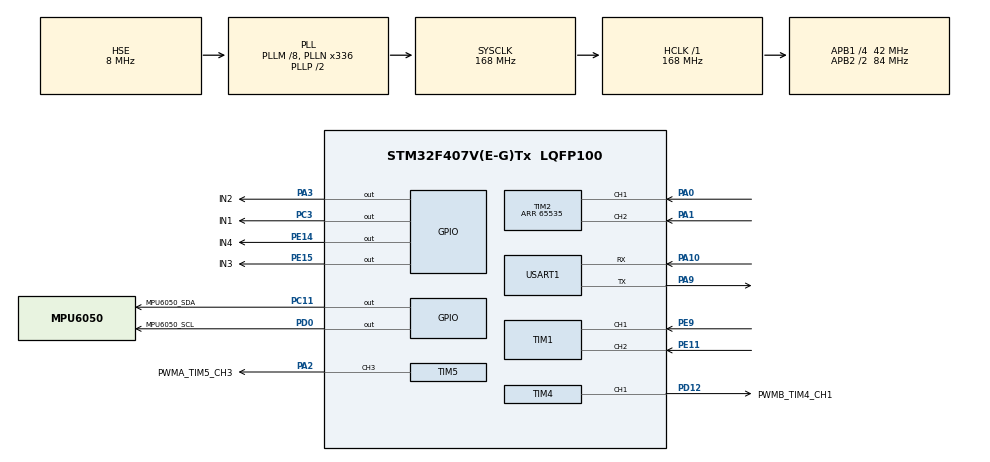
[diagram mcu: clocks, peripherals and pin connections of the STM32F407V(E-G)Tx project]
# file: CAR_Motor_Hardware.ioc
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FREERTOS.Queues01=Ubuntu_data_Queue,33,unsigned char,0,Dynamic,NULL,NULL
FREERTOS.Tasks01=Task_PID_Ctrol_,-3,128,Start_Task_PID_Ctrol_Task_100HZ,Default,NULL,Dynamic,NULL,NULL;Task_IMU_200HZ,0,128,Start_Task_IMU_200HZ,Default,NULL,Dynamic,NULL,NULL;Task_USART_5HZ,-3,128,Start_Task_USART_5HZ,Default,NULL,Dynamic,NULL,NULL;Task_Interactio,-3,128,Start_Task_Interactio,Default,NULL,Dynamic,NULL,NULL
Mcu.Family=STM32F4
Mcu.Name=STM32F407V(E-G)Tx
Mcu.Package=LQFP100
NVIC.PriorityGroup=NVIC_PRIORITYGROUP_4
NVIC.TIM6_DAC_IRQn=true\:0\:0\:true\:false\:true\:false\:false\:true\:true
NVIC.TimeBase=TIM6_DAC_IRQn
NVIC.TimeBaseIP=TIM6
NVIC.USART1_IRQn=true\:5\:0\:false\:false\:true\:true\:true\:true\:true
PA0-WKUP.Signal=S_TIM2_CH1_ETR
PA1.Signal=S_TIM2_CH2
PA10.Mode=Asynchronous
PA10.Signal=USART1_RX
PA13.Mode=Serial_Wire
PA13.Signal=SYS_JTMS-SWDIO
PA14.Mode=Serial_Wire
PA14.Signal=SYS_JTCK-SWCLK
PA2.GPIO_Label=PWMA_TIM5_CH3
PA2.Signal=S_TIM5_CH3
PA3.GPIO_Label=IN2
PA3.Signal=GPIO_Output
PA9.Mode=Asynchronous
PA9.Signal=USART1_TX
PC11.GPIO_Label=MPU6050_SDA
PC11.Signal=GPIO_Output
PC3.GPIO_Label=IN1
PC3.Signal=GPIO_Output
PD0.GPIO_Label=MPU6050_SCL
PD0.Signal=GPIO_Output
PD12.GPIO_Label=PWMB_TIM4_CH1
PD12.Signal=S_TIM4_CH1
PE11.Signal=S_TIM1_CH2
PE14.GPIO_Label=IN4
PE14.Signal=GPIO_Output
PE15.GPIO_Label=IN3
PE15.Signal=GPIO_Output
PE9.Signal=S_TIM1_CH1
PH0-OSC_IN.Mode=HSE-External-Oscillator
PH0-OSC_IN.Signal=RCC_OSC_IN
PH1-OSC_OUT.Mode=HSE-External-Oscillator
PH1-OSC_OUT.Signal=RCC_OSC_OUT
ProjectManager.HeapSize=0x200
ProjectManager.StackSize=0x400
ProjectManager.TargetToolchain=MDK-ARM V5
RCC.48MHZClocksFreq_Value=84000000
RCC.AHBFreq_Value=168000000
RCC.APB1CLKDivider=RCC_HCLK_DIV4
RCC.APB1Freq_Value=42000000
RCC.APB1TimFreq_Value=84000000
RCC.APB2CLKDivider=RCC_HCLK_DIV2
RCC.APB2Freq_Value=84000000
RCC.APB2TimFreq_Value=168000000
RCC.CortexFreq_Value=168000000
RCC.HCLKFreq_Value=168000000
RCC.HSE_VALUE=8000000
RCC.HSI_VALUE=16000000
RCC.LSE_VALUE=32768
RCC.PLLM=8
RCC.PLLN=336
RCC.PLLSourceVirtual=RCC_PLLSOURCE_HSE
RCC.SYSCLKFreq_VALUE=168000000
RCC.SYSCLKSource=RCC_SYSCLKSOURCE_PLLCLK
RCC.VCOOutputFreq_Value=336000000
SH.S_TIM1_CH1.0=TIM1_CH1,Encoder_Interface
SH.S_TIM1_CH2.0=TIM1_CH2,Encoder_Interface
SH.S_TIM2_CH1_ETR.0=TIM2_CH1,Encoder_Interface
SH.S_TIM2_CH2.0=TIM2_CH2,Encoder_Interface
SH.S_TIM4_CH1.0=TIM4_CH1,PWM Generation1 CH1
SH.S_TIM5_CH3.0=TIM5_CH3,PWM Generation3 CH3
TIM1.EncoderMode=TIM_ENCODERMODE_TI12
TIM2.EncoderMode=TIM_ENCODERMODE_TI12
TIM2.Period=65535
TIM4.Channel-PWM\ Generation1\ CH1=TIM_CHANNEL_1
TIM4.Period=8000
TIM5.Channel-PWM\ Generation3\ CH3=TIM_CHANNEL_3
TIM5.Period=8000
USART1.VirtualMode=VM_ASYNC
VP_FREERTOS_VS_CMSIS_V1.Mode=CMSIS_V1
VP_SYS_VS_tim6.Mode=TIM6
board=custom

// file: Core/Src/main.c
/* USER CODE BEGIN Header */
/**
  ******************************************************************************
  * @file           : main.c
  * @brief          : Main program body
  ******************************************************************************
  * @attention
  *
  * Copyright (c) 2022 STMicroelectronics.
  * All rights reserved.
  *
  * This software is licensed under terms that can be found in the LICENSE file
  * in the root directory of this software component.
  * If no LICENSE file comes with this software, it is provided AS-IS.
  *
  ******************************************************************************
  */
/* USER CODE END Header */
#include "main.h"
#include "cmsis_os.h"
#include "tim.h"
#include "usart.h"
#include "gpio.h"

/* USER CODE BEGIN Includes */
#include "stdio.h"
/* USER CODE END Includes */

void SystemClock_Config(void);
void MX_FREERTOS_Init(void);

/* USER CODE BEGIN 0 */
int fputc(int ch, FILE *fp)
{
	while(!(USART1->SR & (1<<7)));

	USART1->DR = ch;

	return ch;
}
/* USER CODE END 0 */

int main(void)
{

  /* MCU Configuration--------------------------------------------------------*/

  /* Reset of all peripherals, Initializes the Flash interface and the Systick. */
  HAL_Init();

  /* Configure the system clock */
  SystemClock_Config();

  /* Initialize all configured peripherals */
  MX_GPIO_Init();
  MX_USART1_UART_Init();
  MX_TIM1_Init();
  MX_TIM2_Init();
  MX_TIM4_Init();
  MX_TIM5_Init();
  /* USER CODE BEGIN 2 */
	printf("ROS_Hardware_develop\n");
	HAL_TIM_PWM_Start(&htim5, TIM_CHANNEL_3);
	HAL_TIM_PWM_Start(&htim4, TIM_CHANNEL_1);
	HAL_TIM_Encoder_Start(&htim1, TIM_CHANNEL_ALL);
	HAL_TIM_Encoder_Start(&htim2, TIM_CHANNEL_ALL);
  /* USER CODE END 2 */

  /* Call init function for freertos objects (in freertos.c) */
  MX_FREERTOS_Init();

  /* Start scheduler */
  osKernelStart();

  /* We should never get here as control is now taken by the scheduler */
  /* Infinite loop */
  while (1)
  {

  }
}

void SystemClock_Config(void)
{
  RCC_OscInitTypeDef RCC_OscInitStruct = {0};
  RCC_ClkInitTypeDef RCC_ClkInitStruct = {0};

  /** Configure the main internal regulator output voltage
  */
  __HAL_RCC_PWR_CLK_ENABLE();
  __HAL_PWR_VOLTAGESCALING_CONFIG(PWR_REGULATOR_VOLTAGE_SCALE1);

  /** Initializes the RCC Oscillators according to the specified parameters
  * in the RCC_OscInitTypeDef structure.
  */
  RCC_OscInitStruct.OscillatorType = RCC_OSCILLATORTYPE_HSE;
  RCC_OscInitStruct.HSEState = RCC_HSE_ON;
  RCC_OscInitStruct.PLL.PLLState = RCC_PLL_ON;
  RCC_OscInitStruct.PLL.PLLSource = RCC_PLLSOURCE_HSE;
  RCC_OscInitStruct.PLL.PLLM = 8;
  RCC_OscInitStruct.PLL.PLLN = 336;
  RCC_OscInitStruct.PLL.PLLP = RCC_PLLP_DIV2;
  RCC_OscInitStruct.PLL.PLLQ = 4;
  if (HAL_RCC_OscConfig(&RCC_OscInitStruct) != HAL_OK)
  {
    Error_Handler();
  }

  /** Initializes the CPU, AHB and APB buses clocks
  */
  RCC_ClkInitStruct.ClockType = RCC_CLOCKTYPE_HCLK|RCC_CLOCKTYPE_SYSCLK
                              |RCC_CLOCKTYPE_PCLK1|RCC_CLOCKTYPE_PCLK2;
  RCC_ClkInitStruct.SYSCLKSource = RCC_SYSCLKSOURCE_PLLCLK;
  RCC_ClkInitStruct.AHBCLKDivider = RCC_SYSCLK_DIV1;
  RCC_ClkInitStruct.APB1CLKDivider = RCC_HCLK_DIV4;
  RCC_ClkInitStruct.APB2CLKDivider = RCC_HCLK_DIV2;

  if (HAL_RCC_ClockConfig(&RCC_ClkInitStruct, FLASH_LATENCY_5) != HAL_OK)
  {
    Error_Handler();
  }
}

void HAL_TIM_PeriodElapsedCallback(TIM_HandleTypeDef *htim)
{
  if (htim->Instance == TIM6) {
    HAL_IncTick();
  }
}

void Error_Handler(void)
{
  __disable_irq();
  while (1)
  {
  }
}

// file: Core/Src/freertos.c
/* USER CODE BEGIN Header */
/**
  ******************************************************************************
  * File Name          : freertos.c
  * Description        : Code for freertos applications
  ******************************************************************************
  * @attention
  *
  * Copyright (c) 2022 STMicroelectronics.
  * All rights reserved.
  *
  * This software is licensed under terms that can be found in the LICENSE file
  * in the root directory of this software component.
  * If no LICENSE file comes with this software, it is provided AS-IS.
  *
  ******************************************************************************
  */
/* USER CODE END Header */

#include "FreeRTOS.h"
#include "task.h"
#include "main.h"
#include "cmsis_os.h"

/* USER CODE BEGIN Includes */
#include "main.h"
#include "stm32f4xx_hal.h"
#include "mpu6050.h"
#include "car_task.h"
#include "inv_mpu_user.h"
#include "ROS_USART_DEVICE.h"
#include "contrl.h"
/* USER CODE END Includes */

/* USER CODE BEGIN Variables */
//unsigned char Rcount = 0;
/* USER CODE END Variables */
osThreadId Task_PID_Ctrol_Handle;
osThreadId Task_IMU_200HZHandle;
osThreadId Task_USART_5HZHandle;
osThreadId Task_InteractioHandle;
osMessageQId Ubuntu_data_QueueHandle;

void Start_Task_PID_Ctrol_Task_100HZ(void const * argument);
void Start_Task_IMU_200HZ(void const * argument);
void Start_Task_USART_5HZ(void const * argument);
void Start_Task_Interactio(void const * argument);

void MX_FREERTOS_Init(void); /* (MISRA C 2004 rule 8.1) */

/* GetIdleTaskMemory prototype (linked to static allocation support) */
void vApplicationGetIdleTaskMemory( StaticTask_t **ppxIdleTaskTCBBuffer, StackType_t **ppxIdleTaskStackBuffer, uint32_t *pulIdleTaskStackSize );

/* USER CODE BEGIN GET_IDLE_TASK_MEMORY */
static StaticTask_t xIdleTaskTCBBuffer;
static StackType_t xIdleStack[configMINIMAL_STACK_SIZE];

void vApplicationGetIdleTaskMemory( StaticTask_t **ppxIdleTaskTCBBuffer, StackType_t **ppxIdleTaskStackBuffer, uint32_t *pulIdleTaskStackSize )
{
  *ppxIdleTaskTCBBuffer = &xIdleTaskTCBBuffer;
  *ppxIdleTaskStackBuffer = &xIdleStack[0];
  *pulIdleTaskStackSize = configMINIMAL_STACK_SIZE;
  /* place for user code */
}
/* USER CODE END GET_IDLE_TASK_MEMORY */

void MX_FREERTOS_Init(void) {

  /* Create the queue(s) */
  /* definition and creation of Ubuntu_data_Queue */
  osMessageQDef(Ubuntu_data_Queue, 33, unsigned char);
  Ubuntu_data_QueueHandle = osMessageCreate(osMessageQ(Ubuntu_data_Queue), NULL);

  /* Create the thread(s) */
  /* definition and creation of Task_PID_Ctrol_ */
  osThreadDef(Task_PID_Ctrol_, Start_Task_PID_Ctrol_Task_100HZ, osPriorityIdle, 0, 128);
  Task_PID_Ctrol_Handle = osThreadCreate(osThread(Task_PID_Ctrol_), NULL);

  /* definition and creation of Task_IMU_200HZ */
  osThreadDef(Task_IMU_200HZ, Start_Task_IMU_200HZ, osPriorityNormal, 0, 128);
  Task_IMU_200HZHandle = osThreadCreate(osThread(Task_IMU_200HZ), NULL);

  /* definition and creation of Task_USART_5HZ */
  osThreadDef(Task_USART_5HZ, Start_Task_USART_5HZ, osPriorityIdle, 0, 128);
  Task_USART_5HZHandle = osThreadCreate(osThread(Task_USART_5HZ), NULL);

  /* definition and creation of Task_Interactio */
  osThreadDef(Task_Interactio, Start_Task_Interactio, osPriorityIdle, 0, 128);
  Task_InteractioHandle = osThreadCreate(osThread(Task_Interactio), NULL);

}

void Start_Task_PID_Ctrol_Task_100HZ(void const * argument)
{
  /* USER CODE BEGIN Start_Task_PID_Ctrol_Task_100HZ */
  /* Infinite loop */
  for(;;)
  {
		Car_Task_100HZ();
		Moto_Control_speed(Right_moto.Current_Speed, Right_moto.Target_Speed ,MOTO_RIGHT);
		Moto_Control_speed(Left_moto.Current_Speed,  Left_moto.Target_Speed  ,MOTO_LEFT );
	//	printf("Task_PID_Ctrol\n");
    osDelay(1000);
  }
  /* USER CODE END Start_Task_PID_Ctrol_Task_100HZ */
}

void Start_Task_IMU_200HZ(void const * argument)
{
  /* USER CODE BEGIN Start_Task_IMU_200HZ */
  /* Infinite loop */
	MPU_Init();

	while(mpu_dmp_init());
	printf("Task_IMU_get\n");
  for(;;)
  {
		Car_Task_200HZ();

    osDelay(200);
  }
  /* USER CODE END Start_Task_IMU_200HZ */
}

void Start_Task_USART_5HZ(void const * argument)
{
  /* USER CODE BEGIN Start_Task_USART_5HZ */
  /* Infinite loop */
  for(;;)
  {
		Car_Task_5HZ();
		//printf("Task_ROS_communiate\n");
    osDelay(1000);
  }
  /* USER CODE END Start_Task_USART_5HZ */
}

void Start_Task_Interactio(void const * argument)
{
  /* USER CODE BEGIN Start_Task_Interactio */
	uint8_t u8Index;
  /* Infinite loop */
  for(;;)
  {
		//每次读取消息之前，把索引初始化为0
	 // u8Index = 0;
	  //1、一直等待接收消息,第一个消息应该放在消息缓冲区的第一个元素上
		//if(xQueueReceive(Ubuntu_data_QueueHandle,&Recive_Data.buffer[u8Index++],portMAX_DELAY)==pdPASS){
		//	while(xQueueReceive(Ubuntu_data_QueueHandle,&Recive_Data.buffer[u8Index++],50)){}
			//Recive_Data.buffer[u8Index] = '\0';//保证一包完整字符串信息

		//}

			//完成解析以后，要清空接收缓冲区，不然会出现问题
		  //  memset(Recive_Data.buffer,0,33);
		//printf("Task_Interactio\n");
    osDelay(100);
  }

  /* USER CODE END Start_Task_Interactio */
}
